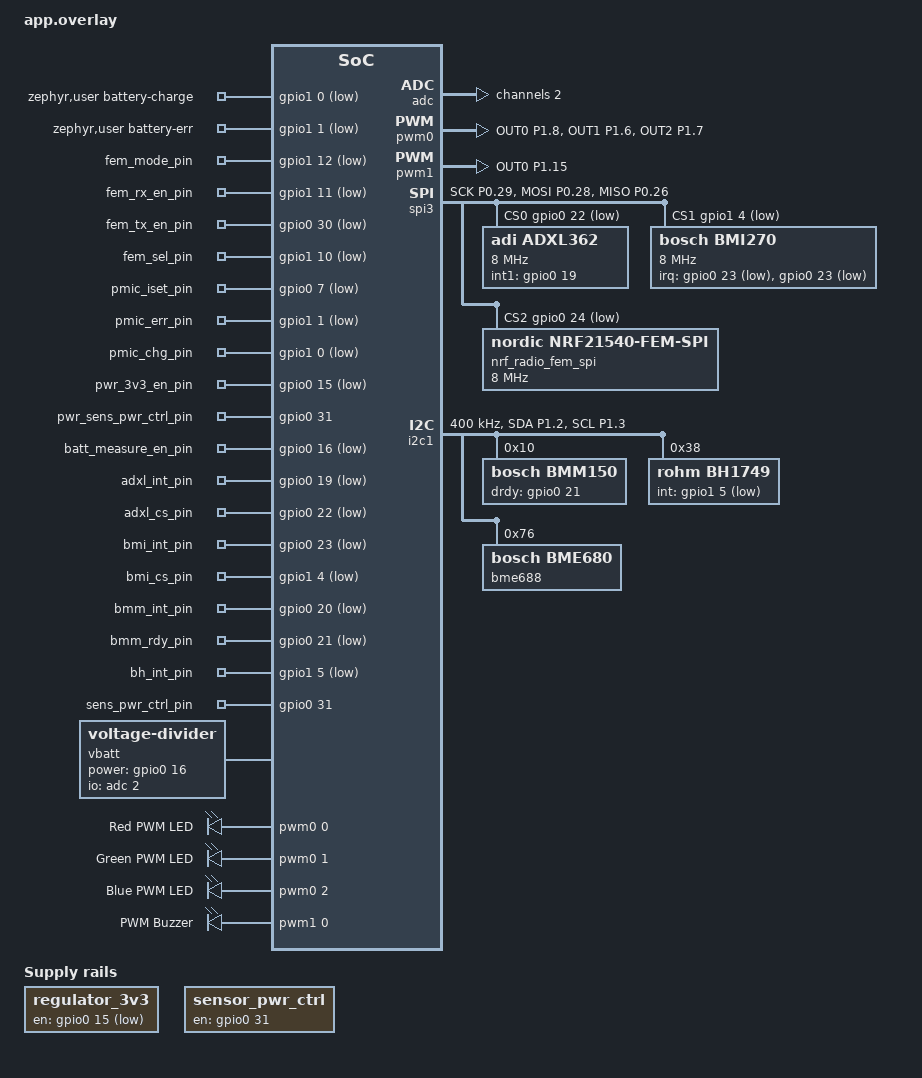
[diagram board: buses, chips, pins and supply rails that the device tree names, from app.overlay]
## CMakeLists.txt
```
cmake_minimum_required(VERSION 3.20.0)
find_package(Zephyr REQUIRED HINTS $ENV{ZEPHYR_BASE})

project(sanc_thingy53)

target_sources(app PRIVATE 
    src/main.c
    src/bsp/bsp.c
    src/bsp/bsp_led.c
    src/bsp/bsp_led_pwm.c
    src/bsp/bsp_gpio.c
    src/bsp/bsp_adc.c
    src/bsp/bsp_buzzer.c
    src/bsp/bsp_msg_parser.c
    src/bsp/bsp_utils.c
    src/bsp/bsp_state_machine.c
    src/bsp/bsp_sensor_adxl362.c
    src/bsp/bsp_sensor_bh1749.c
    src/bsp/bsp_sensor_bme688.c
    src/bsp/bsp_sensor_bmi270.c
    src/bsp/bsp_sensor_bmm150.c
    src/bsp/bsp_statistics.c
    src/cbor/cbor_msg_encode.c
    src/shell/shell_led.c
    src/shell/shell_led_pwm.c
    src/shell/shell_system.c
    src/shell/shell_adc.c
    src/shell/shell_gpio.c
    src/shell/shell_sensors.c
    src/shell/shell_buzzer.c
)

target_include_directories(app PRIVATE
    src/bsp
    src/shell
    src/cbor
)
```

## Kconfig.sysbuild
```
# Kconfig.sysbuild - Sysbuild configuration for nRF5340 dual-core setup
config NRF_DEFAULT_IPC_RADIO
	default y

config NETCORE_IPC_RADIO_BT_HCI_IPC
	default y

source "share/sysbuild/Kconfig"
```

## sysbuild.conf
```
# sysbuild.conf - Configure sysbuild to enable MCUboot
SB_CONFIG_BOOTLOADER_MCUBOOT=y
```

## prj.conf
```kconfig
CONFIG_BT=y
CONFIG_BT_PERIPHERAL=y
CONFIG_BT_ZEPHYR_NUS=y

# Enable Console & Logging
CONFIG_SERIAL=y
CONFIG_CONSOLE=y
CONFIG_UART_CONSOLE=y
CONFIG_LOG=y
# Disable other log backends like RTT to avoid duplicate prints
CONFIG_LOG_BACKEND_RTT=n
CONFIG_USE_SEGGER_RTT=n
# Disable low-level console getline
CONFIG_CONSOLE_SUBSYS=y
CONFIG_CONSOLE_GETLINE=y
# Enable Zephyr Shell
CONFIG_SHELL=y
CONFIG_SHELL_BACKEND_SERIAL=y


# Configure USB CDC ACM for Thingy:53 console
CONFIG_USB_DEVICE_STACK_NEXT=y
CONFIG_CDC_ACM_SERIAL_INITIALIZE_AT_BOOT=y
CONFIG_CDC_ACM_SERIAL_MULTIPLE_INSTANCES=y
CONFIG_CDC_ACM_SERIAL_PRODUCT_STRING="Thingy:53 Nordic UART Service sample"
CONFIG_CDC_ACM_SERIAL_PID=0x530E
CONFIG_USBD_CDC_ACM_LOG_LEVEL_OFF=y
CONFIG_LOG_BACKEND_UART=n
CONFIG_UART_LINE_CTRL=y
CONFIG_UART_ASYNC_ADAPTER=y
CONFIG_UART_ASYNC_API=y
CONFIG_UART_INTERRUPT_DRIVEN=y
CONFIG_UART_NRFX=n
CONFIG_BOOTLOADER_MCUBOOT=y

# Enable Debugging Support
CONFIG_DEBUG=y
# CONFIG_DEBUG_INFO=y
CONFIG_DEBUG_OPTIMIZATIONS=y

#
CONFIG_GPIO=y
CONFIG_BT_DEVICE_NAME="sanc_thingy53"
CONFIG_ADC=y
CONFIG_PWM=y
CONFIG_SPI=y
CONFIG_BT_ATT_PREPARE_COUNT=5

# -------------------------------------------------------------
# Bluetooth MTU & Buffer Configuration
# -------------------------------------------------------------

# Set the maximum L2CAP TX MTU
CONFIG_BT_L2CAP_TX_MTU=247

# Set the RX/TX ACL buffer size to match MTU + L2CAP header (4 bytes)
CONFIG_BT_BUF_ACL_RX_SIZE=251
CONFIG_BT_BUF_ACL_TX_SIZE=251

# Enable Link Layer Data Length Extension (DLE) to fit MTU in a single packet
CONFIG_BT_USER_DATA_LEN_UPDATE=y
CONFIG_BT_CTLR_DATA_LENGTH_MAX=251

# Enable floating point formatting in printf, printk, and LOG_* macros
CONFIG_CBPRINTF_FP_SUPPORT=y
CONFIG_PICOLIBC_IO_FLOAT=y

# sanc_thingy5340 cpuapp configuration
CONFIG_SHELL_PROMPT_UART="sanc:~$ "

# Sensor Subsystem Configuration
CONFIG_SENSOR=y

# ADXL362 driver
CONFIG_ADXL362=y
CONFIG_ADXL362_TRIGGER_GLOBAL_THREAD=y

# BH1749 color sensor
CONFIG_BH1749=y

# BME688 environmental sensor
CONFIG_BME680=y

# BMI270 IMU sensor
CONFIG_BMI270=y
CONFIG_BMI270_TRIGGER_GLOBAL_THREAD=y

# BMM150 magnetometer sensor
CONFIG_BMM150=y
CONFIG_BMM150_TRIGGER_GLOBAL_THREAD=y

# Regulator support
CONFIG_REGULATOR=y
CONFIG_REGULATOR_FIXED=y

# BLE OTA
# Enable MCUmgr and SMP BLE transport
CONFIG_MCUMGR=y
CONFIG_MCUMGR_TRANSPORT_BT=y
CONFIG_MCUMGR_TRANSPORT_BT_PERM_RW=y
CONFIG_MCUMGR_TRANSPORT_BT_REASSEMBLY=y
CONFIG_MCUMGR_TRANSPORT_BT_CONN_PARAM_CONTROL=y


# Enable MCUmgr groups for OS and Image management
CONFIG_MCUMGR_GRP_IMG=y
CONFIG_MCUMGR_GRP_OS=y
CONFIG_MCUMGR_GRP_IMG_VERBOSE_ERR=y

# Dependencies for MCUmgr & Image Manager
CONFIG_ZCBOR=y
CONFIG_FLASH_MAP=y
CONFIG_STREAM_FLASH=y
CONFIG_FLASH_SIMULATOR=y
CONFIG_FLASH_SIMULATOR_DOUBLE_WRITES=y


# Recommended: Enable storage and flash boundaries
CONFIG_FLASH=y
CONFIG_IMG_MANAGER=y
CONFIG_IMG_ERASE_PROGRESSIVELY=y

CONFIG_REBOOT=y

# Enable compiler size optimizations
CONFIG_SIZE_OPTIMIZATIONS=y

# Use compact nano printf
CONFIG_CBPRINTF_NANO=y

# Disable verbose logging in release build
# Use deferred logging (thread-safe for BLE)
CONFIG_LOG_MODE_DEFERRED=y

# CONFIG_SYS_CLOCK_TICKS_PER_SEC=

# To get statistics
CONFIG_SCHED_THREAD_USAGE=y
CONFIG_THREAD_NAME=y
CONFIG_THREAD_RUNTIME_STATS=y
CONFIG_THREAD_STACK_INFO=y
CONFIG_SYS_HEAP_RUNTIME_STATS=y
```

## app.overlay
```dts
#include <zephyr/dt-bindings/gpio/gpio.h>
#include <zephyr/dt-bindings/adc/adc.h>
#include <zephyr/dt-bindings/adc/nrf-saadc.h>
#include <zephyr/dt-bindings/pinctrl/nrf-pinctrl.h>
#include <zephyr/dt-bindings/pwm/pwm.h>

/ {
	aliases {
		pwm-led0 = &red_led_pwm;
		pwm-led1 = &green_led_pwm;
		pwm-led2 = &blue_led_pwm;
		pwm-buzzer = &buzzer_pwm;
	};

	regulator_3v3: regulator-3v3-ctrl {
		compatible = "regulator-fixed";
		regulator-name = "ncp114";
		enable-gpios = <&gpio0 15 GPIO_ACTIVE_LOW>;
		regulator-boot-on;
	};

	sensor_pwr_ctrl: sensor-pwr-ctrl {
		compatible = "regulator-fixed";
		regulator-name = "tck106ag";
		enable-gpios = <&gpio0 31 GPIO_ACTIVE_HIGH>;
		regulator-boot-on;
		startup-delay-us = <10000>;
	};

	zephyr,user {
		battery-charge-gpios = <&gpio1 0 (GPIO_PULL_UP | GPIO_ACTIVE_LOW)>;
		battery-err-gpios = <&gpio1 1 (GPIO_PULL_UP | GPIO_ACTIVE_LOW)>;
	};

	fem-gpios {
		compatible = "gpio-leds";

		fem_mode_pin: fem-mode-pin {
			gpios = <&gpio1 12 1>;
		};

		fem_rx_en_pin: fem-rx-en-pin {
			gpios = <&gpio1 11 1>;
		};

		fem_tx_en_pin: fem-tx-en-pin {
			gpios = <&gpio0 30 1>;
		};

		fem_sel_pin: fem-sel-pin {
			gpios = <&gpio1 10 1>;
		};
	};

	pmic-gpios {
		compatible = "gpio-leds";

		pmic_iset_pin: pmic-iset-pin {
			gpios = <&gpio0 7 1>;
		};

		pmic_err_pin: pmic-err-pin {
			gpios = <&gpio1 1 1>;
		};

		pmic_chg_pin: pmic-chg-pin {
			gpios = <&gpio1 0 1>;
		};
	};

	power-gpios {
		compatible = "gpio-leds";

		pwr_3v3_en_pin: pwr-3v3-en-pin {
			gpios = <&gpio0 15 1>;
		};

		pwr_sens_pwr_ctrl_pin: pwr-sens-pwr-ctrl-pin {
			gpios = <&gpio0 31 GPIO_ACTIVE_HIGH>;
		};
	};

	batt-gpios {
		compatible = "gpio-leds";

		batt_measure_en_pin: batt-measure-en-pin {
			gpios = <&gpio0 16 1>;
		};
	};

	sensor-gpios {
		compatible = "gpio-leds";

		adxl_int_pin: adxl-int-pin {
			gpios = <&gpio0 19 1>;
		};

		adxl_cs_pin: adxl-cs-pin {
			gpios = <&gpio0 22 1>;
		};

		bmi_int_pin: bmi-int-pin {
			gpios = <&gpio0 23 1>;
		};

		bmi_cs_pin: bmi-cs-pin {
			gpios = <&gpio1 4 1>;
		};

		bmm_int_pin: bmm-int-pin {
			gpios = <&gpio0 20 1>;
		};

		bmm_rdy_pin: bmm-rdy-pin {
			gpios = <&gpio0 21 1>;
		};

		bh_int_pin: bh-int-pin {
			gpios = <&gpio1 5 1>;
		};

		sens_pwr_ctrl_pin: sens-pwr-ctrl-pin {
			gpios = <&gpio0 31 GPIO_ACTIVE_HIGH>;
		};
	};

	vbatt: vbatt {
		compatible = "voltage-divider";
		io-channels = <&adc 2>;
		output-ohms = <180000>;
		full-ohms = <(1500000 + 180000)>;
		power-gpios = <&gpio0 16 0>;
	};

	pwmleds {
		compatible = "pwm-leds";

		red_led_pwm: led-pwm-0 {
			pwms = <&pwm0 0 PWM_MSEC(20) PWM_POLARITY_NORMAL>;
			label = "Red PWM LED";
		};

		green_led_pwm: led-pwm-1 {
			pwms = <&pwm0 1 PWM_MSEC(20) PWM_POLARITY_NORMAL>;
			label = "Green PWM LED";
		};

		blue_led_pwm: led-pwm-2 {
			pwms = <&pwm0 2 PWM_MSEC(20) PWM_POLARITY_NORMAL>;
			label = "Blue PWM LED";
		};
	};

	/* Define the buzzer under the compatible "pwm-leds" class */
	buzzers {
		compatible = "pwm-leds";

		buzzer_pwm: buzzer_pwm {
			/* PWM1 channel 0, default period 4000 Hz, active high */
			pwms = <&pwm1 0 PWM_HZ(4000) PWM_POLARITY_NORMAL>;
			label = "PWM Buzzer";
		};
	};
};

/* Enable SAADC and configure Channel 2 for P0.06 */
&adc {
	#address-cells = <1>;
	#size-cells = <0>;
	status = "okay";

	channel@2 {
		reg = <2>;
		zephyr,gain = "ADC_GAIN_1_6";          /* Gain of 1/6 for scaling battery voltage */
		zephyr,reference = "ADC_REF_INTERNAL"; /* Uses nRF internal 0.6V reference */
		zephyr,vref-mv = <600>;
		zephyr,acquisition-time = <ADC_ACQ_TIME_DEFAULT>;
		zephyr,resolution = <12>;             /* 12-bit resolution */
		zephyr,input-positive = <NRF_SAADC_AIN2>; /* AIN2 maps to P0.06 */
	};
};

&pinctrl {
	pwm0_default: pwm0_default {
		group1 {
			psels = <NRF_PSEL(PWM_OUT0, 1, 8)>,
				<NRF_PSEL(PWM_OUT1, 1, 6)>,
				<NRF_PSEL(PWM_OUT2, 1, 7)>;
		};
	};

	pwm0_sleep: pwm0_sleep {
		group1 {
			psels = <NRF_PSEL(PWM_OUT0, 1, 8)>,
				<NRF_PSEL(PWM_OUT1, 1, 6)>,
				<NRF_PSEL(PWM_OUT2, 1, 7)>;
			low-power-enable;
		};
	};

	pwm1_default: pwm1_default {
		group1 {
			psels = <NRF_PSEL(PWM_OUT0, 1, 15)>;
		};
	};

	pwm1_sleep: pwm1_sleep {
		group1 {
			psels = <NRF_PSEL(PWM_OUT0, 1, 15)>;
			low-power-enable;
		};
	};

	spi3_default: spi3_default {
		group1 {
			psels = <NRF_PSEL(SPIM_SCK, 0, 29)>,
				<NRF_PSEL(SPIM_MOSI, 0, 28)>,
				<NRF_PSEL(SPIM_MISO, 0, 26)>;
		};
	};

	spi3_sleep: spi3_sleep {
		group1 {
			psels = <NRF_PSEL(SPIM_SCK, 0, 29)>,
				<NRF_PSEL(SPIM_MOSI, 0, 28)>,
				<NRF_PSEL(SPIM_MISO, 0, 26)>;
			low-power-enable;
		};
	};

	i2c1_default: i2c1_default {
		group1 {
			psels = <NRF_PSEL(TWIM_SDA, 1, 2)>,
				<NRF_PSEL(TWIM_SCL, 1, 3)>;
		};
	};

	i2c1_sleep: i2c1_sleep {
		group1 {
			psels = <NRF_PSEL(TWIM_SDA, 1, 2)>,
				<NRF_PSEL(TWIM_SCL, 1, 3)>;
			low-power-enable;
		};
	};
};

&pwm0 {
	status = "okay";
	pinctrl-0 = <&pwm0_default>;
	pinctrl-1 = <&pwm0_sleep>;
	pinctrl-names = "default", "sleep";
};

&pwm1 {
	status = "okay";
	pinctrl-0 = <&pwm1_default>;
	pinctrl-1 = <&pwm1_sleep>;
	pinctrl-names = "default", "sleep";
};

&spi3 {
	compatible = "nordic,nrf-spim";
	status = "okay";
	cs-gpios = <&gpio0 22 GPIO_ACTIVE_LOW>,
		   <&gpio1 4 GPIO_ACTIVE_LOW>,
		   <&gpio0 24 GPIO_ACTIVE_LOW>;
	pinctrl-0 = <&spi3_default>;
	pinctrl-1 = <&spi3_sleep>;
	pinctrl-names = "default", "sleep";

	adxl362: spi-dev-adxl362@0 {
		compatible = "adi,adxl362";
		spi-max-frequency = <8000000>;
		reg = <0>;
		int1-gpios = <&gpio0 19 0>;
	};

	bmi270: spi-dev-bmi270@1 {
		compatible = "bosch,bmi270";
		status = "okay";
		reg = <1>;
		spi-max-frequency = <8000000>;
		irq-gpios = <&gpio0 23 GPIO_ACTIVE_LOW>, <&gpio0 23 GPIO_ACTIVE_LOW>;
	};

	nrf_radio_fem_spi: fem_spi@2 {
		compatible = "nordic,nrf21540-fem-spi";
		status = "okay";
		reg = <2>;
		spi-max-frequency = <8000000>;
	};
};

&i2c1 {
	compatible = "nordic,nrf-twim";
	status = "okay";
	clock-frequency = <I2C_BITRATE_FAST>;
	pinctrl-0 = <&i2c1_default>;
	pinctrl-1 = <&i2c1_sleep>;
	pinctrl-names = "default", "sleep";

	bmm150: bmm150@10 {
		compatible = "bosch,bmm150";
		reg = <0x10>;
		drdy-gpios = <&gpio0 21 GPIO_ACTIVE_HIGH>;
	};

	bh1749: bh1749@38 {
		compatible = "rohm,bh1749";
		reg = <0x38>;
		int-gpios = <&gpio1 5 (GPIO_PULL_UP | GPIO_ACTIVE_LOW)>;
	};

	bme688: bme688@76 {
		compatible = "bosch,bme680";
		reg = <0x76>;
	};
};
```

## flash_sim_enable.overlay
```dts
/* Enable flash simulator in the application */
/ {
	soc {
		nordic_ram-flash-controller@0 {
			status = "okay";
			flash_sim@0 {
				status = "okay";
			};
		};
	};
};
```

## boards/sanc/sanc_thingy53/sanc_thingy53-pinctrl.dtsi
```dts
&pinctrl {
	uart0_default: uart0_default {
		group1 {
			psels = <NRF_PSEL(UART_TX, 0, 12)>,
				<NRF_PSEL(UART_RX, 0, 11)>,
				<NRF_PSEL(UART_RTS, 0, 10)>,
				<NRF_PSEL(UART_CTS, 0, 9)>;
		};
	};

	uart0_sleep: uart0_sleep {
		group1 {
			psels = <NRF_PSEL(UART_RX, 0, 11)>,
				<NRF_PSEL(UART_RTS, 0, 10)>,
				<NRF_PSEL(UART_CTS, 0, 9)>;
			low-power-enable;
		};

		group2 {
			psels = <NRF_PSEL(UART_TX, 0, 12)>;
			low-power-enable;
			bias-pull-up;
		};
	};

	qspi_default: qspi_default {
		group1 {
			psels = <NRF_PSEL(QSPI_SCK, 0, 17)>,
				<NRF_PSEL(QSPI_IO0, 0, 13)>,
				<NRF_PSEL(QSPI_IO1, 0, 14)>,
				<NRF_PSEL(QSPI_CSN, 0, 18)>;
		};
	};

	qspi_sleep: qspi_sleep {
		group1 {
			psels = <NRF_PSEL(QSPI_SCK, 0, 17)>,
				<NRF_PSEL(QSPI_IO0, 0, 13)>,
				<NRF_PSEL(QSPI_IO1, 0, 14)>;
			low-power-enable;
		};

		group2 {
			psels = <NRF_PSEL(QSPI_CSN, 0, 18)>;
			low-power-enable;
			bias-pull-up;
		};
	};
};
```

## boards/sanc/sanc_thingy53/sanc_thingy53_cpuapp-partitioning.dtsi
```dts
/*
 * Default Flash planning for Application MCU.
 *
 * Zephyr build for nRF5340 with ARM TrustZone-M support, implies building secure and non-secure
 * Zephyr images.
 *
 * Secure image will be placed, by default, in flash0 (or in slot0_partition, if MCUboot is
 * present). Secure image will use sram0_s for system memory.
 *
 * Non-secure image will be placed in slot0_ns_partition, and use sram0_ns for system memory.
 *
 * Note that the secure image only requires knowledge of the beginning of the non-secure image (not
 * its size).
 */
&flash0 {
	partitions {
		#address-cells = <1>;
		#size-cells = <1>;
		ranges;

		boot_partition: partition@0 {
			compatible = "zephyr,mapped-partition";
			label = "mcuboot";
			reg = <0x0 DT_SIZE_K(64)>;
		};

		slot0_partition: partition@10000 {
			compatible = "zephyr,mapped-partition";
			label = "image-0";
			reg = <0x10000 DT_SIZE_K(448)>;
			#address-cells = <1>;
			#size-cells = <1>;

			slot0_s_partition: partition@0 {
				compatible = "zephyr,mapped-partition";
				label = "image-0-secure";
				reg = <0x0 DT_SIZE_K(256)>;
			};

			slot0_ns_partition: partition@40000 {
				compatible = "zephyr,mapped-partition";
				label = "image-0-nonsecure";
				reg = <0x40000 DT_SIZE_K(192)>;
			};
		};

		slot1_partition: partition@80000 {
			compatible = "zephyr,mapped-partition";
			label = "image-1";
			reg = <0x80000 DT_SIZE_K(448)>;
			#address-cells = <1>;
			#size-cells = <1>;

			slot1_s_partition: partition@0 {
				compatible = "zephyr,mapped-partition";
				label = "image-1-secure";
				reg = <0x0 DT_SIZE_K(256)>;
			};

			slot1_ns_partition: partition@40000 {
				compatible = "zephyr,mapped-partition";
				label = "image-1-nonsecure";
				reg = <0x40000 DT_SIZE_K(192)>;
			};
		};

		tfm_ps_partition: partition@f0000 {
			compatible = "zephyr,mapped-partition";
			label = "tfm-ps";
			reg = <0x000f0000 0x00004000>;
		};

		tfm_its_partition: partition@f4000 {
			compatible = "zephyr,mapped-partition";
			label = "tfm-its";
			reg = <0x000f4000 0x00002000>;
		};

		tfm_otp_partition: partition@f6000 {
			compatible = "zephyr,mapped-partition";
			label = "tfm-otp";
			reg = <0x000f6000 0x00002000>;
		};

		storage_partition: partition@f8000 {
			compatible = "zephyr,mapped-partition";
			label = "storage";
			reg = <0xf8000 DT_SIZE_K(32)>;
		};
	};
};

&sram0 {
	/* Default SRAM planning when building for nRF5340 with ARM TF-M support
	 * - Lowest 256 kB SRAM allocated to Secure image (sram0_s)
	 * - Upper 256 kB allocated to Non-Secure image (sram0_ns)
	 * Of the memory allocated to the Non-Secure image
	 * - 192 kB SRAM allocated to the Non-Secure application (sram0_ns_app).
	 * - 64 kB allocated to shared memory (sram0_shared).
	 *   (See *-shared_sram.dtsi)
	 */
	sram0_image: sram@0 {
		/* Zephyr image(s) memory */
		reg = <0x0 DT_SIZE_K(448)>;
		ranges = <0x0 0x0 0x70000>;
		#address-cells = <1>;
		#size-cells = <1>;

		sram0_s: sram0_image@0 {
			/* Secure image memory */
			reg = <0x0 0x40000>;
		};

		sram0_offset_for_dfu: sram@2000 {
			reg = <0x2000 DT_SIZE_K(440)>;
			ranges = <0x0 0x2000 DT_SIZE_K(440)>;
			#address-cells = <1>;
			#size-cells = <1>;
		};
	};

	/*
	 * This is overlapping with the above part as this is used to set memory permissions to
	 * non-secure, the above outer partition is used for applications without TF-M support.
	 */
	sram0_ns: sram@40000 {
		/* Non-Secure image memory */
		reg = <0x40000 0x40000>;
		ranges = <0x0 0x40000 0x40000>;
		#address-cells = <1>;
		#size-cells = <1>;

		sram0_ns_app: sram0_ns@0 {
			/* Non-Secure application memory */
			reg = <0x0 0x30000>;
		};
	};
};
```

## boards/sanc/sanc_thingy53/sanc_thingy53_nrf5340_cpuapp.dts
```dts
/dts-v1/;

#include <nordic/nrf5340_cpuapp_qkaa.dtsi>
#include "sanc_thingy53-pinctrl.dtsi"

/ {
	model = "thngy53 board based porject (CPUAPP)";
	compatible = "sanc,sanc-thingy53-cpuapp";

	chosen {
		zephyr,sram = &sram0_image;
		zephyr,flash = &flash0;
		zephyr,code-partition = &slot0_partition;
		zephyr,sram-secure-partition = &sram0_s;
		zephyr,sram-non-secure-partition = &sram0_ns;
		zephyr,bt-hci = &bt_hci_ipc0;
		nordic,802154-spinel-ipc = &ipc0;
		zephyr,ieee802154 = &ieee802154;
		zephyr,console = &cdc_acm_uart0;
		zephyr,shell-uart = &cdc_acm_uart0;
		nordic,pm-ext-flash = &mx25r64;
	};

	aliases {
		sw0 = &button0;
		sw1 = &button1;
		led0 = &red_led;
		led1 = &green_led;
		led2 = &blue_led;
		mcuboot-button0 = &button0;
		mcuboot-led0 = &blue_led;
	};

	buttons {
		compatible = "gpio-keys";
		button0: button_0 {
			gpios = <&gpio1 14 (GPIO_PULL_UP | GPIO_ACTIVE_LOW)>;
			label = "Push button 1";
		};
		button1: button_1 {
			gpios = <&gpio1 13 (GPIO_PULL_UP | GPIO_ACTIVE_LOW)>;
			label = "Push button 2";
		};
	};

	leds {
		compatible = "gpio-leds";
		red_led: led_1 {
			gpios = <&gpio1 8 GPIO_ACTIVE_HIGH>;
			label = "RGB red LED";
		};
		green_led: led_2 {
			gpios = <&gpio1 6 GPIO_ACTIVE_HIGH>;
			label = "RGB green LED";
		};
		blue_led: led_3 {
			gpios = <&gpio1 7 GPIO_ACTIVE_HIGH>;
			label = "RGB blue LED";
		};
	};
};

&gpio0 {
	status = "okay";
};

&gpio1 {
	status = "okay";
};

&gpiote {
	status = "okay";
};

&ieee802154 {
	status = "okay";
};

&vregmain {
	regulator-initial-mode = <NRF5X_REG_MODE_DCDC>;
};

&vregradio {
	regulator-initial-mode = <NRF5X_REG_MODE_DCDC>;
};

&vregh {
	status = "okay";
};

zephyr_udc0: &usbd {
	compatible = "nordic,nrf-usbd";
	status = "okay";
	cdc_acm_uart0: cdc_acm_uart0 {
		compatible = "zephyr,cdc-acm-uart";
	};
};

&qspi {
	status = "okay";
	pinctrl-0 = <&qspi_default>;
	pinctrl-1 = <&qspi_sleep>;
	pinctrl-names = "default", "sleep";

	mx25r64: mx25r6435f@0 {
		compatible = "nordic,qspi-nor";
		reg = <0>;
		writeoc = "pp";
		readoc = "read2io";
		sck-frequency = <8000000>;
		jedec-id = [c2 28 17];
		sfdp-bfp = [e5 20 f1 ff ff ff ff 03 44 eb 08 6b 08 3b 04 bb
			    ee ff ff ff ff ff 00 ff ff ff 00 ff 0c 20 0f 52
			    10 d8 00 ff 23 72 f5 00 82 ed 04 cc 44 83 68 44
			    30 b0 30 b0 f7 c4 d5 5c 00 be 29 ff f0 d0 ff ff];
		size = <67108864>;
		has-dpd;
		t-enter-dpd = <10000>;
		t-exit-dpd = <35000>;
	};
};

#include "sanc_thingy53_cpuapp-partitioning.dtsi"
#include "sanc_thingy53-shared_sram.dtsi"
```

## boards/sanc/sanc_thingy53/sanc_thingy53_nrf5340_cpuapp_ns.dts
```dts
/dts-v1/;

#include <arm/nordic/nrf5340_cpuapp_ns_qkaa.dtsi>
#include "sanc_thingy53-pinctrl.dtsi"

/ {
	model = "thngy53 board based porject (CPUAPP Non-Secure)";
	compatible = "sanc,sanc-thingy53-cpuapp-ns";

	chosen {
		zephyr,sram = &sram0_ns_app;
		zephyr,flash = &flash0;
		zephyr,code-partition = &slot0_ns_partition;
		zephyr,bt-hci = &bt_hci_ipc0;
		nordic,802154-spinel-ipc = &ipc0;
		zephyr,ieee802154 = &ieee802154;
		nordic,pm-ext-flash = &mx25r64;
	};

	aliases {
		sw0 = &button0;
		sw1 = &button1;
		led0 = &red_led;
		led1 = &green_led;
		led2 = &blue_led;
		mcuboot-button0 = &button0;
		mcuboot-led0 = &blue_led;
	};

	buttons {
		compatible = "gpio-keys";
		button0: button_0 {
			gpios = <&gpio1 14 (GPIO_PULL_UP | GPIO_ACTIVE_LOW)>;
			label = "Push button 1";
		};
		button1: button_1 {
			gpios = <&gpio1 13 (GPIO_PULL_UP | GPIO_ACTIVE_LOW)>;
			label = "Push button 2";
		};
	};

	leds {
		compatible = "gpio-leds";
		red_led: led_1 {
			gpios = <&gpio1 8 GPIO_ACTIVE_HIGH>;
			label = "RGB red LED";
		};
		green_led: led_2 {
			gpios = <&gpio1 6 GPIO_ACTIVE_HIGH>;
			label = "RGB green LED";
		};
		blue_led: led_3 {
			gpios = <&gpio1 7 GPIO_ACTIVE_HIGH>;
			label = "RGB blue LED";
		};
	};
};

&gpio0 {
	status = "okay";
};

&gpio1 {
	status = "okay";
};

&gpiote {
	status = "okay";
};

&ieee802154 {
	status = "okay";
};

&qspi {
	status = "okay";
	pinctrl-0 = <&qspi_default>;
	pinctrl-1 = <&qspi_sleep>;
	pinctrl-names = "default", "sleep";

	mx25r64: mx25r6435f@0 {
		compatible = "nordic,qspi-nor";
		reg = <0>;
		writeoc = "pp";
		readoc = "read2io";
		sck-frequency = <8000000>;
		jedec-id = [c2 28 17];
		sfdp-bfp = [e5 20 f1 ff ff ff ff 03 44 eb 08 6b 08 3b 04 bb
			    ee ff ff ff ff ff 00 ff ff ff 00 ff 0c 20 0f 52
			    10 d8 00 ff 23 72 f5 00 82 ed 04 cc 44 83 68 44
			    30 b0 30 b0 f7 c4 d5 5c 00 be 29 ff f0 d0 ff ff];
		size = <67108864>;
		has-dpd;
		t-enter-dpd = <10000>;
		t-exit-dpd = <35000>;
	};
};

#include "sanc_thingy53_cpuapp-partitioning.dtsi"
#include "sanc_thingy53-shared_sram.dtsi"
```

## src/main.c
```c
/*
 * Copyright (c) 2024 Croxel, Inc.
 *
 * SPDX-License-Identifier: Apache-2.0
 */

#include <zephyr/kernel.h>
#include <zephyr/bluetooth/bluetooth.h>
#include <zephyr/bluetooth/services/nus.h>
#include <zephyr/bluetooth/conn.h>
#include <zephyr/logging/log.h>
#include <zephyr/mgmt/mcumgr/transport/smp_bt.h>

#include <app_version.h>

#include "bsp.h"
#include "bsp_msg_parser.h"

#define DEVICE_NAME CONFIG_BT_DEVICE_NAME
#define DEVICE_NAME_LEN (sizeof(DEVICE_NAME) - 1)

extern BSP_ST g_Bsp;

LOG_MODULE_REGISTER(main, LOG_LEVEL_INF);

static const struct bt_data ad[] = {
	BT_DATA_BYTES(BT_DATA_FLAGS, (BT_LE_AD_GENERAL | BT_LE_AD_NO_BREDR)),
	BT_DATA(BT_DATA_NAME_COMPLETE, DEVICE_NAME, DEVICE_NAME_LEN),
};

static const struct bt_data sd[] = {
	BT_DATA_BYTES(BT_DATA_UUID128_ALL, SMP_BT_SVC_UUID_VAL),
};

static struct k_work adv_work;

static void start_adv_handler(struct k_work *work)
{
	int err = bt_le_adv_start(BT_LE_ADV_CONN_FAST_1, ad, ARRAY_SIZE(ad), sd, ARRAY_SIZE(sd));
	if (err)
	{
		LOG_ERR("Failed to start advertising: %d\n", err);
	}
	else
	{
		LOG_INF("Advertising started\n");
	}
}

// MTU updated callback
static void mtu_updated(struct bt_conn *conn, uint16_t tx, uint16_t rx)
{
	LOG_INF("ATT MTU exchange complete. New MTU: TX %d RX %d (Max payload: %d)",
			tx, rx, tx - 3);
}

static struct bt_gatt_cb gatt_callbacks = {
	.att_mtu_updated = mtu_updated,
};
///////////////////////////////////////////////////////////////////////////////

static void notif_enabled(bool enabled, void *ctx)
{
	ARG_UNUSED(ctx);

	g_Bsp.nus_notif_enabled = enabled ? 1 : 0;
	LOG_INF("%s() - %s\n", __func__, (enabled ? "Enabled" : "Disabled"));
}

struct nus_rx_msg
{
	uint8_t data[MAX_PAYLOAD];
	uint16_t len;
};

#define MSG_QUEUE_SIZE 8
K_MSGQ_DEFINE(nus_rx_msgq, sizeof(struct nus_rx_msg), MSG_QUEUE_SIZE, 4);

#define NUS_RX_THREAD_STACK_SIZE 2048
#define NUS_RX_THREAD_PRIORITY 8

K_THREAD_STACK_DEFINE(nus_rx_thread_stack, NUS_RX_THREAD_STACK_SIZE);
static struct k_thread nus_rx_thread_data;

static void nus_rx_thread_entry(void *unused1, void *unused2, void *unused3)
{
	struct nus_rx_msg rx_msg;
	while (1)
	{
		if (k_msgq_get(&nus_rx_msgq, &rx_msg, K_FOREVER) == 0)
		{
			bsp_msg_parser((const char *)rx_msg.data, rx_msg.len);
		}
	}
}

static void received(struct bt_conn *conn, const void *data, uint16_t len, void *ctx)
{
	struct nus_rx_msg rx_msg;

	ARG_UNUSED(conn);
	ARG_UNUSED(ctx);

	LOG_INF("%s() - Len: %d, Message: %.*s\n", __func__, len, len, (char *)data);

	if (len > MAX_PAYLOAD)
	{
		LOG_ERR("Received data exceeds MAX_PAYLOAD");
		return;
	}

	memcpy(rx_msg.data, data, len);
	rx_msg.len = len;

	int err = k_msgq_put(&nus_rx_msgq, &rx_msg, K_NO_WAIT);
	if (err)
	{
		LOG_ERR("Failed to queue NUS RX message: %d", err);
	}
}

struct bt_nus_cb nus_listener = {
	.notif_enabled = notif_enabled,
	.received = received,
};

static void connected(struct bt_conn *conn, uint8_t err)
{
	if (err)
	{
		LOG_ERR("BLE Connection failed: %d\n", err);
	}
	else
	{
		LOG_INF("BLE Connected\n");
	}
}

static void disconnected(struct bt_conn *conn, uint8_t reason)
{
	LOG_INF("BLE Disconnected: %d\n", reason);

	g_Bsp.nus_notif_enabled = 0;
	k_work_submit(&adv_work);
}

BT_CONN_CB_DEFINE(conn_callbacks) = {
	.connected = connected,
	.disconnected = disconnected,
};

int main(void)
{
	int err;

	LOG_INF("sanc_thingy53 NUS Application\n");
	LOG_INF("Firmware Version: %s\n", APP_VERSION_STRING);

	bsp_init();

	k_work_init(&adv_work, start_adv_handler);

	err = bt_nus_cb_register(&nus_listener, NULL);
	if (err)
	{
		LOG_ERR("Failed to register NUS callback: %d\n", err);
		return err;
	}

	bt_gatt_cb_register(&gatt_callbacks);

	err = bt_enable(NULL);
	if (err)
	{
		LOG_ERR("Failed to enable bluetooth: %d\n", err);
		return err;
	}

	err = bt_le_adv_start(BT_LE_ADV_CONN_FAST_1, ad, ARRAY_SIZE(ad), sd, ARRAY_SIZE(sd));
	if (err)
	{
		LOG_ERR("Failed to start advertising: %d\n", err);
		return err;
	}

	LOG_INF("Initialization complete\n");

	k_thread_create(&nus_rx_thread_data, nus_rx_thread_stack,
					K_THREAD_STACK_SIZEOF(nus_rx_thread_stack),
					nus_rx_thread_entry, NULL, NULL, NULL,
					NUS_RX_THREAD_PRIORITY, 0, K_NO_WAIT);
#if 0
	while (true)
	{
		const char *hello_world = "Hello World!\n";

		k_sleep(K_SECONDS(g_Bsp.nus_duration));

		if(g_Bsp.nus_notif_enabled)
		{
			err = bsp_nus_send(hello_world, strlen(hello_world));

			if (err < 0 && (err != -EAGAIN) && (err != -ENOTCONN))
			{
				LOG_ERR("Failed to send data over BLE NUS: %d\n", err);
				// return err;
			}
		}
	}
#endif
	return 0;
}
```
